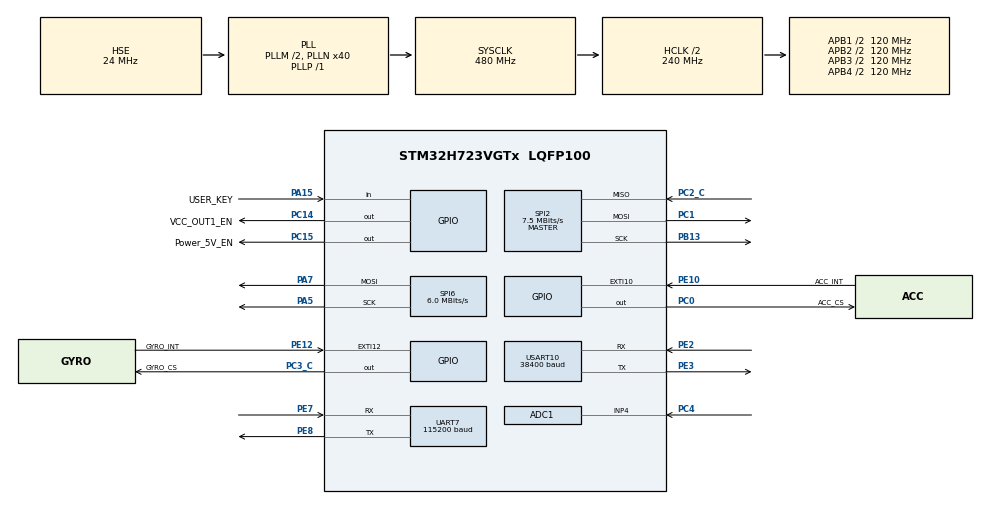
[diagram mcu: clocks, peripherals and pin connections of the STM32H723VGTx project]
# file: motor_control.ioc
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ADC1.Channel-1\#ChannelRegularConversion=ADC_CHANNEL_4
ADC1.DiscontinuousConvMode=DISABLE
ADC1.EnableInjectedConversion=DISABLE
ADC1.EnableRegularConversion=ENABLE
ADC1.NbrOfConversionFlag=1
ADC1.OffsetNumber-1\#ChannelRegularConversion=ADC_OFFSET_NONE
ADC1.OffsetSignedSaturation-1\#ChannelRegularConversion=DISABLE
ADC1.OversamplingMode=DISABLE
ADC1.Rank-1\#ChannelRegularConversion=1
ADC1.SamplingTime-1\#ChannelRegularConversion=ADC_SAMPLETIME_387CYCLES_5
ADC1.master=1
CORTEX_M7.default_mode_Activation=1
Dma.Request0=SPI2_RX
Dma.Request1=SPI2_TX
Dma.SPI2_RX.0.Direction=DMA_PERIPH_TO_MEMORY
Dma.SPI2_RX.0.EventEnable=DISABLE
Dma.SPI2_RX.0.FIFOMode=DMA_FIFOMODE_DISABLE
Dma.SPI2_RX.0.Instance=DMA1_Stream0
Dma.SPI2_RX.0.MemDataAlignment=DMA_MDATAALIGN_BYTE
Dma.SPI2_RX.0.MemInc=DMA_MINC_ENABLE
Dma.SPI2_RX.0.Mode=DMA_NORMAL
Dma.SPI2_RX.0.PeriphDataAlignment=DMA_PDATAALIGN_BYTE
Dma.SPI2_RX.0.PeriphInc=DMA_PINC_DISABLE
Dma.SPI2_RX.0.Polarity=HAL_DMAMUX_REQ_GEN_RISING
Dma.SPI2_RX.0.Priority=DMA_PRIORITY_VERY_HIGH
Dma.SPI2_RX.0.RequestNumber=1
Dma.SPI2_RX.0.SignalID=NONE
Dma.SPI2_RX.0.SyncEnable=DISABLE
Dma.SPI2_RX.0.SyncPolarity=HAL_DMAMUX_SYNC_NO_EVENT
Dma.SPI2_RX.0.SyncRequestNumber=1
Dma.SPI2_RX.0.SyncSignalID=NONE
Dma.SPI2_TX.1.Direction=DMA_MEMORY_TO_PERIPH
Dma.SPI2_TX.1.EventEnable=DISABLE
Dma.SPI2_TX.1.FIFOMode=DMA_FIFOMODE_DISABLE
Dma.SPI2_TX.1.Instance=DMA1_Stream1
Dma.SPI2_TX.1.MemDataAlignment=DMA_MDATAALIGN_BYTE
Dma.SPI2_TX.1.MemInc=DMA_MINC_ENABLE
Dma.SPI2_TX.1.Mode=DMA_NORMAL
Dma.SPI2_TX.1.PeriphDataAlignment=DMA_PDATAALIGN_BYTE
Dma.SPI2_TX.1.PeriphInc=DMA_PINC_DISABLE
Dma.SPI2_TX.1.Polarity=HAL_DMAMUX_REQ_GEN_RISING
Dma.SPI2_TX.1.Priority=DMA_PRIORITY_HIGH
Dma.SPI2_TX.1.RequestNumber=1
Dma.SPI2_TX.1.SignalID=NONE
Dma.SPI2_TX.1.SyncEnable=DISABLE
Dma.SPI2_TX.1.SyncPolarity=HAL_DMAMUX_SYNC_NO_EVENT
Dma.SPI2_TX.1.SyncRequestNumber=1
Dma.SPI2_TX.1.SyncSignalID=NONE
FREERTOS.Tasks01=defaultTask,24,512,StartDefaultTask,Default,NULL,Dynamic,NULL,NULL;motor_task,8,256,MotorTask,Default,NULL,Dynamic,NULL,NULL
FREERTOS.Timers01=motorPos,motorPosCallback,osTimerPeriodic,Default,NULL,Static,motorPosControlBlock
Mcu.Family=STM32H7
Mcu.Name=STM32H723VGTx
Mcu.Package=LQFP100
NVIC.DMA1_Stream0_IRQn=true\:5\:0\:false\:false\:true\:true\:false\:true\:true
NVIC.DMA1_Stream1_IRQn=true\:5\:0\:false\:false\:true\:true\:false\:true\:true
NVIC.PriorityGroup=NVIC_PRIORITYGROUP_4
NVIC.SPI2_IRQn=true\:5\:0\:false\:false\:true\:true\:false\:true\:true
NVIC.TIM6_DAC_IRQn=true\:15\:0\:false\:false\:true\:false\:false\:true\:true
NVIC.TimeBase=TIM6_DAC_IRQn
NVIC.TimeBaseIP=TIM6
PA13(JTMS/SWDIO).Mode=Serial_Wire
PA13(JTMS/SWDIO).Signal=DEBUG_JTMS-SWDIO
PA14(JTCK/SWCLK).Mode=Serial_Wire
PA14(JTCK/SWCLK).Signal=DEBUG_JTCK-SWCLK
PA15(JTDI).GPIO_Label=USER_KEY
PA15(JTDI).Signal=GPIO_Input
PA5.Mode=TX_Only_Simplex_Unidirect_Master
PA5.Signal=SPI6_SCK
PA7.GPIO_Speed=GPIO_SPEED_FREQ_VERY_HIGH
PA7.Mode=TX_Only_Simplex_Unidirect_Master
PA7.Signal=SPI6_MOSI
PB13.Mode=Full_Duplex_Master
PB13.Signal=SPI2_SCK
PC0.GPIO_Label=ACC_CS
PC0.GPIO_Speed=GPIO_SPEED_FREQ_VERY_HIGH
PC0.PinState=GPIO_PIN_SET
PC0.Signal=GPIO_Output
PC1.Mode=Full_Duplex_Master
PC1.Signal=SPI2_MOSI
PC14-OSC32_IN.GPIO_Label=VCC_OUT1_EN
PC14-OSC32_IN.PinState=GPIO_PIN_RESET
PC14-OSC32_IN.Signal=GPIO_Output
PC15-OSC32_OUT.GPIO_Label=Power_5V_EN
PC15-OSC32_OUT.PinState=GPIO_PIN_RESET
PC15-OSC32_OUT.Signal=GPIO_Output
PC2_C.Mode=Full_Duplex_Master
PC2_C.Signal=SPI2_MISO
PC3_C.GPIO_Label=GYRO_CS
PC3_C.GPIO_Speed=GPIO_SPEED_FREQ_VERY_HIGH
PC3_C.PinState=GPIO_PIN_SET
PC3_C.Signal=GPIO_Output
PC4.Signal=ADCx_INP4
PE10.GPIO_Label=ACC_INT
PE10.Signal=GPXTI10
PE12.GPIO_Label=GYRO_INT
PE12.Signal=GPXTI12
PE2.Mode=Asynchronous
PE2.Signal=USART10_RX
PE3.GPIO_ModeDefaultPP=GPIO_MODE_AF_OD
PE3.Mode=Asynchronous
PE3.Signal=USART10_TX
PE7.Mode=Asynchronous
PE7.Signal=UART7_RX
PE8.Mode=Asynchronous
PE8.Signal=UART7_TX
PH0-OSC_IN.Mode=HSE-External-Oscillator
PH0-OSC_IN.Signal=RCC_OSC_IN
PH1-OSC_OUT.Mode=HSE-External-Oscillator
PH1-OSC_OUT.Signal=RCC_OSC_OUT
ProjectManager.HeapSize=0x200
ProjectManager.StackSize=0x400
ProjectManager.TargetToolchain=CMake
RCC.ADCFreq_Value=48000000
RCC.APB1Freq_Value=120000000
RCC.APB2Freq_Value=120000000
RCC.APB3Freq_Value=120000000
RCC.APB4Freq_Value=120000000
RCC.CortexFreq_Value=480000000
RCC.D1PPRE=RCC_APB3_DIV2
RCC.D2PPRE1=RCC_APB1_DIV2
RCC.D2PPRE2=RCC_APB2_DIV2
RCC.D3PPRE=RCC_APB4_DIV2
RCC.DIVM1=2
RCC.DIVM2=2
RCC.DIVN1=40
RCC.DIVN2=40
RCC.DIVP1=1
RCC.DIVP2=10
RCC.HCLKFreq_Value=240000000
RCC.HPRE=RCC_HCLK_DIV2
RCC.HSE_VALUE=24000000
RCC.PLL2FRACN=0
RCC.PLLFRACN=0
RCC.PLLSourceVirtual=RCC_PLLSOURCE_HSE
RCC.SPI6CLockSelection=RCC_SPI6CLKSOURCE_HSE
RCC.SYSCLKFreq_VALUE=480000000
RCC.SYSCLKSource=RCC_SYSCLKSOURCE_PLLCLK
RCC.USBFreq_Value=240000000
SH.ADCx_INP4.0=ADC1_INP4,IN4-Single-Ended
SPI2.BaudRatePrescaler=SPI_BAUDRATEPRESCALER_32
SPI2.CLKPhase=SPI_PHASE_2EDGE
SPI2.CLKPolarity=SPI_POLARITY_HIGH
SPI2.CalculateBaudRate=7.5 MBits/s
SPI2.DataSize=SPI_DATASIZE_8BIT
SPI2.Direction=SPI_DIRECTION_2LINES
SPI2.Mode=SPI_MODE_MASTER
SPI2.VirtualType=VM_MASTER
SPI6.BaudRatePrescaler=SPI_BAUDRATEPRESCALER_4
SPI6.CLKPhase=SPI_PHASE_2EDGE
SPI6.CLKPolarity=SPI_POLARITY_LOW
SPI6.CalculateBaudRate=6.0 MBits/s
SPI6.DataSize=SPI_DATASIZE_8BIT
SPI6.Direction=SPI_DIRECTION_2LINES_TXONLY
SPI6.Mode=SPI_MODE_MASTER
SPI6.VirtualType=VM_MASTER
UART7.BaudRate=115200
USART10.BaudRate=38400
USART10.VirtualMode=VM_ASYNC
VP_FREERTOS_VS_CMSIS_V2.Mode=CMSIS_V2
VP_MEMORYMAP_VS_MEMORYMAP.Mode=CurAppReg
VP_SYS_VS_tim6.Mode=TIM6
board=custom

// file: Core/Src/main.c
/* USER CODE BEGIN Header */
/**
  ******************************************************************************
  * @file           : main.c
  * @brief          : Main program body
  ******************************************************************************
  * @attention
  *
  * Copyright (c) 2026 STMicroelectronics.
  * All rights reserved.
  *
  * This software is licensed under terms that can be found in the LICENSE file
  * in the root directory of this software component.
  * If no LICENSE file comes with this software, it is provided AS-IS.
  *
  ******************************************************************************
  */
/* USER CODE END Header */
#include "main.h"
#include "FreeRTOS.h"
#include "cmsis_os2.h"
#include "adc.h"
#include "dma.h"
#include "spi.h"
#include "usart.h"
#include "gpio.h"

/* USER CODE BEGIN Includes */
#include "BMI088driver.h"
#include "ws2812.h"
#include "motor_power.h"    /* 电机电源开关（PC14 可控电源输出，高电平使能） */
#include "power_mon.h"       /* 电源电压监测（PC4/ADC1_INP4，分压取样） */
#include "ota_layout.h"      /* OTA_APP_BASE：本镜像链接在哪个槽（见 STM32H723xG_slots.ld） */
#include "ota_trace.h"       /* 启动诊断（Debug 构建才输出，Release 里是空函数） */
/* USER CODE END Includes */

/* USER CODE BEGIN PD */

/* 电机相关的参数（MOTOR_COUNT / 速度环量纲 / 轮询周期 ...）在
   Device/Motor/inc/motor_ctrl.h 和 Device/Ota/inc/ota_layout.h 里，要改去那边改。
   这里只留 main.c 自己用得到的。 */

/* ---- 板载 WS2812 指示灯 ----
   main() 上电时只发一帧全灭（MCU 单独复位时灯珠会保留上一次的颜色）。
   颜色 / 亮度接口见 Device/WS2812/inc/ws2812.h
   （WS2812_SetColor / WS2812_SetBrightness）。 */

/* 使能可控 5V 之后，等 5V 轨稳定再说：板载 WS2812（以及后面的 BMI088）都吃这一路。
   BMI088 数据手册要求 VDD 有效后加速度计 ~1ms、陀螺仪 ~30ms 才能访问，
   5V 轨上的滤波电容充电还需要更多时间，这里统一留 100ms。 */
#define POWER_5V_RAMP_UP_MS       100U

/* ---- 下面这些是 BMI088 的，流程暂时关掉了，先留着方便以后放开 ---- */

/* BMI088 初始化失败后的重试间隔，以及最多向串口报告多少次错误码 */
#define BMI088_INIT_RETRY_MS      200U
#define BMI088_INIT_LOG_ATTEMPTS  10U

/* 上位机(https://imu.steppeschool.com/)要求的是二进制包，固定 20 字节：
   2 字节同步头 0xAA 0xFF，后面 9 个 int16(小端)——
   加速度 xyz、陀螺 xyz、磁力 xyz。本板没有磁力计，磁力 3 轴固定填 0。
   同步头之前的字节(比如下面的初始化错误文本)上位机会直接丢掉，不用特意清空。 */
#define BMI088_PACKET_SYNC1       0xAAU
#define BMI088_PACKET_SYNC2       0xFFU
#define BMI088_PACKET_SIZE        20U

/* USER CODE END PD */

/* USER CODE BEGIN PV */

/* 业务都在 FreeRTOS 任务里了，见 Device/Motor/ 下的 motor_io.c / motor_ctrl.c。
   main.c 只负责：外设初始化 → 5V 上电时序 → 启动调度器。 */

/* USER CODE END PV */

void SystemClock_Config(void);
static void MPU_Config(void);
void MX_FREERTOS_Init(void);
/* USER CODE BEGIN PFP */
#if 0 /* BMI088 打包用的小工具，数据暂时不发 */
static void packet_put_int16(uint8_t *dst, int16_t value);
#endif

/* USER CODE END PFP */

/* USER CODE BEGIN 0 */
int16_t gyro_raw[3], accel_raw[3], temp_raw;

#if 0 /* ===== BMI088 流程暂时关掉，后面要放开时把 #if 0 改成 #if 1 ===== */
static void packet_put_int16(uint8_t *dst, int16_t value)
{
  dst[0] = (uint8_t)(value & 0xFF);
  dst[1] = (uint8_t)((value >> 8) & 0xFF);
}
#endif /* BMI088 */
/* USER CODE END 0 */

int main(void)
{

  /* USER CODE BEGIN 1 */

  /* 启动诊断（只在 Debug 构建里输出，见 Device/Ota/inc/ota_trace.h）：
     它自己先把 USART1 配好（不依赖后面的 HAL/UART 初始化），
     之后每过一步打一个字母。从 Bootloader 跳过来一片安静时，
     串口上最后看到哪个字母，就知道卡在哪一句。 */
  OtaTrace_Init();
  OtaTrace_Text("[app] A: enter main (raw USART1 trace up)\r\n");

  /* ⚠ 必须在任何中断使能之前，把向量表指到**本镜像所在的那个槽**：
     H7 复位时 Flash 被硬件镜像到 0x00000000，而 system_stm32h7xx.c 里
     SCB->VTOR 那句被 #if defined(USER_VECT_TAB_ADDRESS) 包着、默认**不执行**，
     所以 VTOR 一直是复位值 0。从 Bootloader 跳过来时它指的是 Flash 里的
     0x08000000（= BL 自己的向量表），不改的话所有中断都会跑到 BL 的 handler 里去
     （HAL_Delay 卡死、FreeRTOS 不调度）。
     槽基址由链接脚本的 --defsym APP_BASE 给出。 */
  SCB->VTOR = OTA_APP_BASE;
  OtaTrace_Text("[app] B: VTOR = slot base\r\n");

  /* USER CODE END 1 */

  /* MPU Configuration--------------------------------------------------------*/
  MPU_Config();

  /* MCU Configuration--------------------------------------------------------*/

  /* Reset of all peripherals, Initializes the Flash interface and the Systick. */
  HAL_Init();

  /* USER CODE BEGIN Init */

  /* 能打到这里 = MPU_Config() + HAL_Init() 都过了。
     注意 HAL 的时基是 **TIM6**（不是 SysTick，SysTick 留给 FreeRTOS 当调度节拍）：
     TIM6 不工作的话下面 HAL_Delay 会一直转（后面的标记就打不出来） */
  OtaTrace_Text("[app] C: MPU + HAL_Init ok (TIM6 timebase)\r\n");

  /* USER CODE END Init */

  /* Configure the system clock */
  SystemClock_Config();

  /* USER CODE BEGIN SysInit */

  /* 能打到这里 = HSE / PLL / VOSRDY 都过了 */
  OtaTrace_Text("[app] D: SystemClock_Config ok\r\n");

  /* USER CODE END SysInit */

  /* Initialize all configured peripherals */
  MX_GPIO_Init();
  MX_DMA_Init();
  MX_UART7_Init();
  MX_SPI2_Init();
  MX_SPI6_Init();
  MX_USART10_UART_Init();
  MX_ADC1_Init();
  /* USER CODE BEGIN 2 */

  /* 五个外设的 HAL 初始化都过了；下一个可能卡死的是 HAL_Delay（要 TIM6 中断） */
  OtaTrace_Text("[app] E: MX_*_Init ok\r\n");

  /* 电机电源（PC14）：**上电默认关断**。趁早把它配成推挽输出并拉低 ——
     复位后到配好之前，那根使能线是悬空的（高电平就会上电），越早配越安全。
     真正的使能在“无线 ctrl enable / speedloop / drive”时才做。
     注意它是和板载 5V（PC15）**两路独立**的供电：5V 给 WS2812/BMI088，
     PC14 这路给电机（及其驱动板）。 */
  MotorPwr_Init();

  /* 电源电压监测（PC4 = ADC1_INP4）：ADC 本体已经在上面 MX_ADC1_Init() 里配好
     （16 位、通道 4、387.5 周期、ADC 时钟 = PLL2 48 MHz），这里做自校准 + 取第一次值，
     免得第一个上位机查询回来还是个 0。日志在 PowerMon_Start()（那边 UartLog 已经好了）。 */
  PowerMon_Init();

  /* 使能可控 5V：板载 WS2812 指示灯由这一路供电，上电默认是关的 */
  HAL_GPIO_WritePin(Power_5V_EN_GPIO_Port, Power_5V_EN_Pin, GPIO_PIN_SET);

  /* 等 5V 轨爬升稳定 */
  HAL_Delay(POWER_5V_RAMP_UP_MS);

  /* 5V 有了再发一帧全灭：MCU 单独复位时灯珠会保留上一次的颜色 */
  WS2812_Ctrl(0U, 0U, 0U);

  OtaTrace_Text("[app] F: 5V on + WS2812 ok (HAL_Delay too)\r\n");

  /* ⚠ 电机挂在 USART10 上：PE2 = RX、PE3 = TX，38400 8N1（见 usart.c）。
     PE3 (TX) 必须是开漏 (GPIO_MODE_AF_OD)：电机控制板是 5V TTL 单总线，
     高电平靠总线上拉；TX 推挽会让输出 MOS 管常通，在总线上误发信号。
     这个 Mode 是 CubeMX 按 PE3 的 Output type 生成的，要改请在 CubeMX 里改。 */

  /* 业务相关的初始化（日志互斥、电机串口 + 请求队列、轮询任务/信号量）都在
     MX_FREERTOS_Init() 里做：那些对象要求 osKernelInitialize() 已经跑过。 */

  OtaTrace_Text("[app] G: main() done, calling osKernelInitialize()\r\n");

  /* USER CODE END 2 */

  /* Init scheduler */
  osKernelInitialize();  /* Call init function for freertos objects (in cmsis_os2.c) */
  MX_FREERTOS_Init();

  /* Start scheduler */
  osKernelStart();

  /* We should never get here as control is now taken by the scheduler */

  /* Infinite loop */
  /* USER CODE BEGIN WHILE */

  OtaTrace_Text("[app] !! osKernelStart returned (should never happen)\r\n");

  /* We should never get here as control is now taken by the scheduler */

  /* Infinite loop */
  /* USER CODE BEGIN WHILE */
  while (1)
  {
    /* USER CODE END WHILE */

    /* USER CODE BEGIN 3 */

#if 0 /* BMI088 的数据本轮先不发，要放开时把这里改回 #if 1，
         同时把 USER CODE 2 / USER CODE 0 里对应的 #if 0 一起打开。 */
    uint8_t bmi_packet[BMI088_PACKET_SIZE];

    BMI088_read_raw(accel_raw, gyro_raw, &temp_raw);

    /* 20 字节包：同步头 + 加速度 + 陀螺 + 磁力(本板没有，填 0)
       本板 BMI088 的贴装和网页参考板不同，这里对传感器数据做了一次轴向映射：
       X = -传感器 Y、Y = 传感器 X、Z 不变(加速度和陀螺用同一套映射)；
       网页本身还会对 ax/gy/gz 取反。如果 3D 模型的转向还是不对，
       就继续调这里 6 个分量的符号/顺序。 */
    bmi_packet[0] = BMI088_PACKET_SYNC1;
    bmi_packet[1] = BMI088_PACKET_SYNC2;
    packet_put_int16(&bmi_packet[2], (int16_t)(-accel_raw[1]));
    packet_put_int16(&bmi_packet[4], accel_raw[0]);
    packet_put_int16(&bmi_packet[6], accel_raw[2]);
    packet_put_int16(&bmi_packet[8], (int16_t)(-gyro_raw[1]));
    packet_put_int16(&bmi_packet[10], gyro_raw[0]);
    packet_put_int16(&bmi_packet[12], gyro_raw[2]);
    packet_put_int16(&bmi_packet[14], 0);
    packet_put_int16(&bmi_packet[16], 0);
    packet_put_int16(&bmi_packet[18], 0);

    if (HAL_UART_Transmit(&huart7, bmi_packet, BMI088_PACKET_SIZE, HAL_MAX_DELAY) != HAL_OK)
    {
      Error_Handler();
    }

    HAL_Delay(10);
#endif /* BMI088 */
  }
  /* USER CODE END 3 */
}

void SystemClock_Config(void)
{
  RCC_OscInitTypeDef RCC_OscInitStruct = {0};
  RCC_ClkInitTypeDef RCC_ClkInitStruct = {0};

  /** Supply configuration update enable
  */
  HAL_PWREx_ConfigSupply(PWR_LDO_SUPPLY);

  /** Configure the main internal regulator output voltage
  */
  __HAL_PWR_VOLTAGESCALING_CONFIG(PWR_REGULATOR_VOLTAGE_SCALE0);

  while(!__HAL_PWR_GET_FLAG(PWR_FLAG_VOSRDY)) {}

  /** Initializes the RCC Oscillators according to the specified parameters
  * in the RCC_OscInitTypeDef structure.
  */
  RCC_OscInitStruct.OscillatorType = RCC_OSCILLATORTYPE_HSE;
  RCC_OscInitStruct.HSEState = RCC_HSE_ON;
  RCC_OscInitStruct.PLL.PLLState = RCC_PLL_ON;
  RCC_OscInitStruct.PLL.PLLSource = RCC_PLLSOURCE_HSE;
  RCC_OscInitStruct.PLL.PLLM = 2;
  RCC_OscInitStruct.PLL.PLLN = 40;
  RCC_OscInitStruct.PLL.PLLP = 1;
  RCC_OscInitStruct.PLL.PLLQ = 2;
  RCC_OscInitStruct.PLL.PLLR = 2;
  RCC_OscInitStruct.PLL.PLLRGE = RCC_PLL1VCIRANGE_3;
  RCC_OscInitStruct.PLL.PLLVCOSEL = RCC_PLL1VCOWIDE;
  RCC_OscInitStruct.PLL.PLLFRACN = 0;
  if (HAL_RCC_OscConfig(&RCC_OscInitStruct) != HAL_OK)
  {
    Error_Handler();
  }

  /** Initializes the CPU, AHB and APB buses clocks
  */
  RCC_ClkInitStruct.ClockType = RCC_CLOCKTYPE_HCLK|RCC_CLOCKTYPE_SYSCLK
                              |RCC_CLOCKTYPE_PCLK1|RCC_CLOCKTYPE_PCLK2
                              |RCC_CLOCKTYPE_D3PCLK1|RCC_CLOCKTYPE_D1PCLK1;
  RCC_ClkInitStruct.SYSCLKSource = RCC_SYSCLKSOURCE_PLLCLK;
  RCC_ClkInitStruct.SYSCLKDivider = RCC_SYSCLK_DIV1;
  RCC_ClkInitStruct.AHBCLKDivider = RCC_HCLK_DIV2;
  RCC_ClkInitStruct.APB3CLKDivider = RCC_APB3_DIV2;
  RCC_ClkInitStruct.APB1CLKDivider = RCC_APB1_DIV2;
  RCC_ClkInitStruct.APB2CLKDivider = RCC_APB2_DIV2;
  RCC_ClkInitStruct.APB4CLKDivider = RCC_APB4_DIV2;

  if (HAL_RCC_ClockConfig(&RCC_ClkInitStruct, FLASH_LATENCY_3) != HAL_OK)
  {
    Error_Handler();
  }
}

 /* MPU Configuration */

void MPU_Config(void)
{
  MPU_Region_InitTypeDef MPU_InitStruct = {0};

  /* Disables the MPU */
  HAL_MPU_Disable();

  /** Initializes and configures the Region and the memory to be protected
  */
  MPU_InitStruct.Enable = MPU_REGION_ENABLE;
  MPU_InitStruct.Number = MPU_REGION_NUMBER0;
  MPU_InitStruct.BaseAddress = 0x0;
  MPU_InitStruct.Size = MPU_REGION_SIZE_4GB;
  MPU_InitStruct.SubRegionDisable = 0x87;
  MPU_InitStruct.TypeExtField = MPU_TEX_LEVEL0;
  MPU_InitStruct.AccessPermission = MPU_REGION_NO_ACCESS;
  MPU_InitStruct.DisableExec = MPU_INSTRUCTION_ACCESS_DISABLE;
  MPU_InitStruct.IsShareable = MPU_ACCESS_SHAREABLE;
  MPU_InitStruct.IsCacheable = MPU_ACCESS_NOT_CACHEABLE;
  MPU_InitStruct.IsBufferable = MPU_ACCESS_NOT_BUFFERABLE;

  HAL_MPU_ConfigRegion(&MPU_InitStruct);
  /* Enables the MPU */
  HAL_MPU_Enable(MPU_PRIVILEGED_DEFAULT);

}

void HAL_TIM_PeriodElapsedCallback(TIM_HandleTypeDef *htim)
{
  if (htim->Instance == TIM6)
  {
    HAL_IncTick();
  }
}

void Error_Handler(void)
{
  __disable_irq();
  while (1)
  {
  }
}

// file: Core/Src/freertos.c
/* USER CODE BEGIN Header */
/**
  ******************************************************************************
  * File Name          : freertos.c
  * Description        : Code for freertos applications
  ******************************************************************************
  * @attention
  *
  * Copyright (c) 2026 STMicroelectronics.
  * All rights reserved.
  *
  * This software is licensed under terms that can be found in the LICENSE file
  * in the root directory of this software component.
  * If no LICENSE file comes with this software, it is provided AS-IS.
  *
  ******************************************************************************
  */
/* USER CODE END Header */

#include "FreeRTOS.h"
#include "task.h"
#include "main.h"
#include "FreeRTOS.h"
#include "cmsis_os2.h"

/* USER CODE BEGIN Includes */
#include <stdio.h>
#include "usart.h"
#include "motor_io.h"
#include "motor_ctrl.h"
#include "power_mon.h"
#include "uart_log.h"
#include "ota_com.h"
#include "ota_service.h"
#include "ota_trace.h"
/* USER CODE END Includes */

typedef StaticTimer_t osStaticTimerDef_t;

/* Definitions for defaultTask */
osThreadId_t defaultTaskHandle;
const osThreadAttr_t defaultTask_attributes = {
  .name = "defaultTask",
  .stack_size = 512 * 4,
  .priority = (osPriority_t) osPriorityNormal,
};
/* Definitions for motor_task */
osThreadId_t motor_taskHandle;
const osThreadAttr_t motor_task_attributes = {
  .name = "motor_task",
  .stack_size = 256 * 4,
  .priority = (osPriority_t) osPriorityLow,
};
/* Definitions for motorPos */
osTimerId_t motorPosHandle;
osStaticTimerDef_t motorPosControlBlock;
const osTimerAttr_t motorPos_attributes = {
  .name = "motorPos",
  .cb_mem = &motorPosControlBlock,
  .cb_size = sizeof(motorPosControlBlock),
};

/* USER CODE BEGIN FunctionPrototypes */
/* 启动路标：把“走到哪一步”和“还剩多少 FreeRTOS 堆”一起打出来（只在 Debug 构建里真的输出） */
static void ota_boot_mark(const char *tag);
/* USER CODE END FunctionPrototypes */

void StartDefaultTask(void *argument);
void MotorTask(void *argument);
void motorPosCallback(void *argument);

void MX_FREERTOS_Init(void); /* (MISRA C 2004 rule 8.1) */

void MX_FREERTOS_Init(void) {
  /* USER CODE BEGIN Init */

  /* 无线口 USART1（PA9/PA10）：日志 + 控制帧 + OTA 三合一。
     先起串口，再把它挂成日志主口，最后才建 otaSvc 任务。
     ⚠ 每一步都打一个路标 + 剩余 FreeRTOS 堆：这几个 osXxxNew 全都从 FreeRTOS 堆里分配，
       堆不够时表现就是“卡在这里一声不吭”，有堆数字才能一眼看出来。 */
  OtaCom_Init(OTA_PORT_BAUD);
  ota_boot_mark("H1: USART1 up");

  /* 日志口：主口 = 无线口 USART1；板上有线的 UART7 顺便镜像一份（不接线也不影响）。
     不想要镜像就把 UartLog_AddSink(&huart7) 这行删掉。 */
  UartLog_Init(OtaCom_Handle());
  UartLog_AddSink(&huart7);
  ota_boot_mark("H2: log ready (mutex)");

  /* OTA 服务：建 otaSvc 任务（收帧/收固件），里面还会装 ota_host 的钩子 */
  OtaService_Init();
  ota_boot_mark("H3: otaSvc task");

  /* 电机串口（USART10 + 请求队列） */
  MotorIo_Init(&huart10);
  ota_boot_mark("H4: motor io (queue)");

  /* 电源电压监测（PC4/ADC1_INP4）：开一个 1 Hz 的后台采样任务。
     ADC 本体和自校准在 main() 里已经做过了（MX_ADC1_Init / PowerMon_Init），
     这里只是把定时采样跑起来，并把第一次读数打进日志（此时 UartLog 已就绪）。 */
  PowerMon_Start();
  ota_boot_mark("H5: power monitor");

  /* USER CODE END Init */

  /* Create the timer(s) */
  /* creation of motorPos */
  motorPosHandle = osTimerNew(motorPosCallback, osTimerPeriodic, NULL, &motorPos_attributes);

  /* USER CODE BEGIN RTOS_TIMERS */
  /* start timers, add new ones, ... */
  /* 状态轮询定时器：周期到了只释放信号量（回调在 timer service task 里跑，
     绝对不能阻塞），真正的收发由 MotorCtrl_PollTask 做。 */
  (void)osTimerStart(motorPosHandle, pdMS_TO_TICKS(MOTOR_CTRL_POLL_MS));
  ota_boot_mark("I1: poll timer started");
  /* USER CODE END RTOS_TIMERS */

  /* USER CODE BEGIN RTOS_QUEUES */
  /* add queues, ... */
  /* ⚠ 请求队列不在这里：它是收发层的东西，在 Device/Motor/motor_io.c 里随串口一起建
     （MotorIo_Init）。所以 CubeMX 的 FreeRTOS 配置里也不需要再配 motorQueue 了，
     别再加回来。（这段原来写在文件上部、不在 USER CODE 区里，被 Generate Code
     删过一次，现在挪进 USER CODE 区。） */
  /* USER CODE END RTOS_QUEUES */

  /* Create the thread(s) */
  /* creation of defaultTask */
  defaultTaskHandle = osThreadNew(StartDefaultTask, NULL, &defaultTask_attributes);

  /* creation of motor_task */
  motor_taskHandle = osThreadNew(MotorTask, NULL, &motor_task_attributes);

  /* USER CODE BEGIN RTOS_THREADS */
  /* add threads, ... */
  /* 轮询信号量 + 轮询任务（CubeMX 的线程列表里没有它，所以在这里建） */
  MotorCtrl_Init();

  ota_boot_mark("I2: all threads created -> start scheduler");
  /* USER CODE END RTOS_THREADS */

}

void StartDefaultTask(void *argument)
{
  /* USER CODE BEGIN StartDefaultTask */
  (void)argument;

  /* 启动诊断：能打到这里说明调度器起来了、defaultTask 在跑。 */
  OtaTrace_Text("[app] J: defaultTask running\r\n");

  UartLog_Print("motor control (FreeRTOS): USART10 38400 (2 motors), wireless USART1 921600\r\n");
  UartLog_Print("no key/bench flow: drive the car over the wireless link (tools/car.py)\r\n");

  /* 业务全部由无线命令驱动（小车：tools/car.py / tools/car_teleop.py）。
     这个任务留作空闲 / 以后放低频维护逻辑。 */
  for(;;)
  {
    osDelay(1000);
  }
  /* USER CODE END StartDefaultTask */
}

void MotorTask(void *argument)
{
  /* USER CODE BEGIN MotorTask */
  /* 独占 USART10 的收发任务：从队列取请求 → 收发 → 通知发起者（不返回） */
  MotorIo_Task(argument);

  /* Infinite loop */
  for(;;)
  {
    osDelay(1);
  }
  /* USER CODE END MotorTask */
}

/* motorPosCallback function */
void motorPosCallback(void *argument)
{
  /* USER CODE BEGIN motorPosCallback */
  /* 只释放信号量，不阻塞（这里跑在 timer service task 里） */
  MotorCtrl_OnPollTimer();
  /* USER CODE END motorPosCallback */
}

/* USER CODE BEGIN Application */

/* 启动路标（Debug 构建里真的输出；Release 里整块被优化掉） */
static void ota_boot_mark(const char *tag)
{
#if defined(DEBUG)
  char line[96];

  (void)snprintf(line, sizeof(line), "[app] %s [free heap=%lu]\r\n",
                 tag, (unsigned long)xPortGetFreeHeapSize());
  OtaTrace_Text(line);
#else
  (void)tag;
#endif
}

/* USER CODE END Application */
